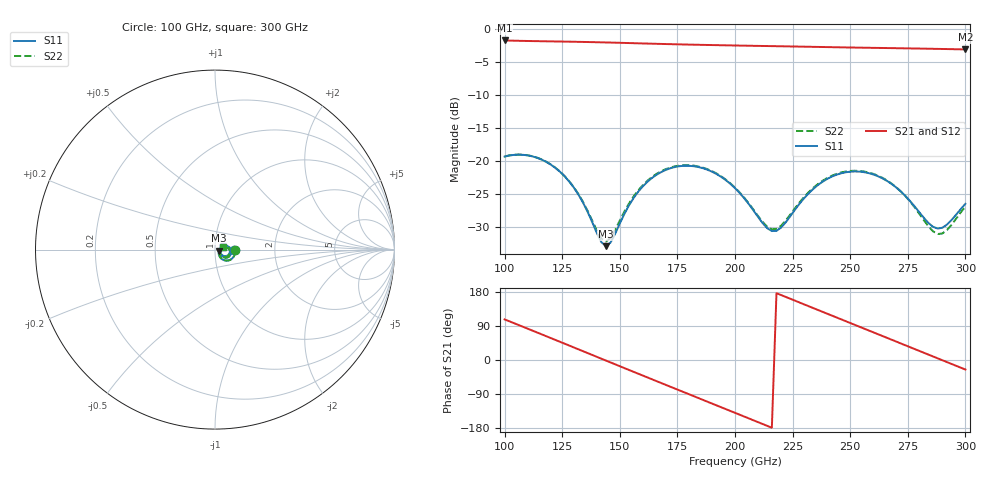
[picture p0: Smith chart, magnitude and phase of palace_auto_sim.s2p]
#  GHZ S DB R 50
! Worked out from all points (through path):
!   101 points, 100 GHz to 300 GHz, reference 50 ohm
!   highest |S21| = -1.68 dB at 100 GHz (marker M1); lowest = -3.0 dB at 300 GHz (marker M2)
!   group delay of S21, straight-line fit = 6.84 ps
!   lowest |S11| = -32.9 dB at 144 GHz (marker M3), VSWR 1.05, Z = 52.2 - j0.675 ohm
!   |S11| at or under -10 dB: start of sweep to end of sweep
!   |S22| runs from -32.2 to -19.0 dB; largest |S21 - S12| = 8.6e-14
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100  -19.29 -1.7  -1.68 107.2  -1.68 107.2  -19.26 -1.9
108  -19.02 -17.2  -1.74 87.6  -1.74 87.6  -18.99 -17.4
116  -19.73 -32.6  -1.79 67.9  -1.79 67.9  -19.71 -32.6
126  -22.25 -49.7  -1.85 43.2  -1.85 43.2  -22.22 -49.2
134  -26.24 -56.5  -1.90 23.3  -1.90 23.3  -26.14 -55.3
144  -32.87 -16.5  -1.98 -1.5  -1.98 -1.5  -32.17 -16.0
158  -24.61 21.2  -2.11 -36.2  -2.11 -36.2  -24.40 18.9
168  -21.62 7.6  -2.20 -60.8  -2.20 -60.8  -21.50 5.7
176  -20.74 -5.9  -2.27 -80.5  -2.27 -80.5  -20.64 -7.7
184  -20.86 -19.6  -2.33 -100.1  -2.33 -100.1  -20.77 -21.3
200  -24.07 -41.1  -2.44 -139.4  -2.44 -139.4  -23.99 -42.4
208  -27.44 -40.8  -2.49 -159.1  -2.49 -159.1  -27.33 -41.9
216  -30.57 -16.4  -2.54 -178.7  -2.54 -178.7  -30.31 -17.7
224  -28.32 13.3  -2.58 161.6  -2.58 161.6  -28.07 10.8
234  -24.18 15.0  -2.65 137.0  -2.65 137.0  -24.02 12.2
244  -22.04 2.6  -2.71 112.4  -2.71 112.4  -21.91 -0.4
252  -21.54 -9.9  -2.76 92.8  -2.76 92.8  -21.43 -13.1
260  -21.99 -22.3  -2.80 73.1  -2.80 73.1  -21.90 -26.0
268  -23.44 -32.9  -2.84 53.5  -2.84 53.5  -23.39 -37.1
278  -26.85 -36.9  -2.89 28.9  -2.89 28.9  -26.99 -42.6
288  -30.20 -11.8  -2.96 4.3  -2.96 4.3  -31.02 -16.1
300  -26.44 16.3  -3.03 -25.1  -3.03 -25.1  -26.85 16.5
